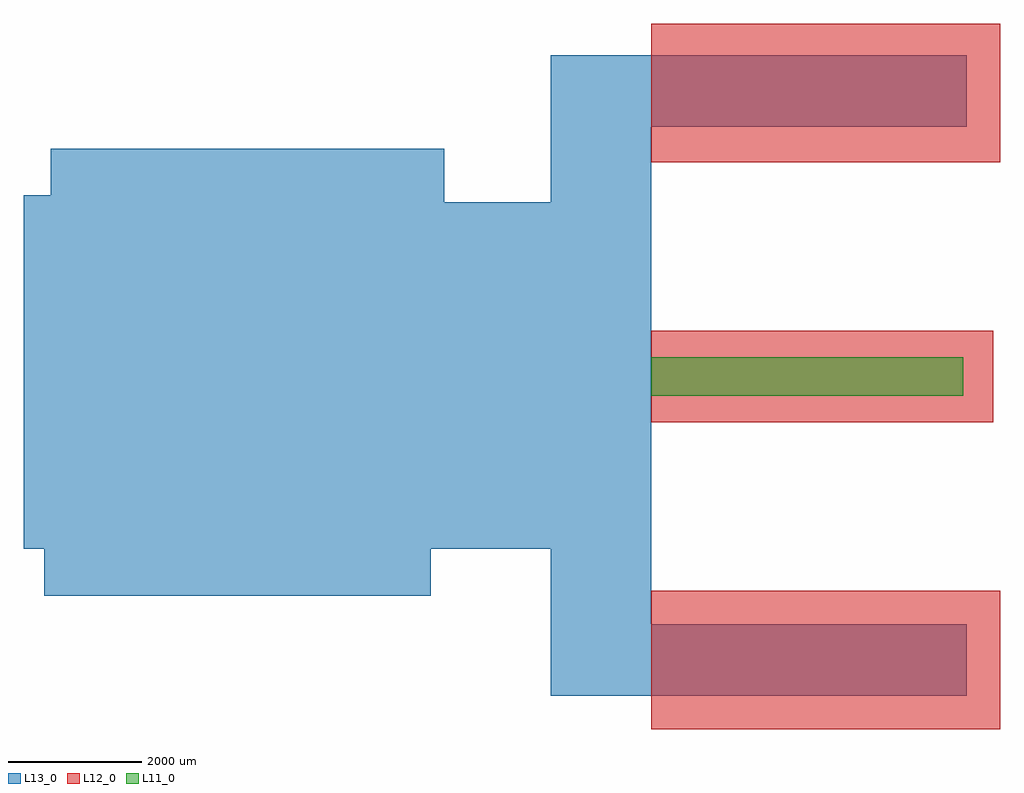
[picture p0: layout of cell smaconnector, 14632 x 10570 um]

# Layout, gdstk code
import gdstk
lib = gdstk.Library(unit=1e-6, precision=1e-09)
def R(c, l, rs):  # rectangles x0, y0, x1, y1
    for r in rs: c.add(gdstk.rectangle(r[:2], r[2:], *l))
def P(c, l, *ps):  # polygons
    for p in ps: c.add(gdstk.Polygon(p, *l))
L11_0 = (11, 0)
L12_0 = (12, 0)
L13_0 = (13, 0)

smaconnector = lib.new_cell('smaconnector')
R(smaconnector, L11_0, [(19600,-300,24281,270)])
R(smaconnector, L12_0, [(19600,-5300,24832,-3230), (19600,-700,24732,670), (19600,3200,24832,5270)])
R(smaconnector, L13_0, [(18100,-4800,19600,4800), (19600,-4800,24332,-3730), (19600,-4800,24332,-3730), (19600,3730,24332,4800), (19600,3730,24332,4800)])
P(smaconnector, L13_0, [(18100,2600),(16500,2600),(16500,3400),(10600,3400),(10600,2700),(10200,2700),(10200,-2600),(10500,-2600),(10500,-3300),(16300,-3300),(16300,-2600),(18100,-2600)])

lib.write_gds('smaconnector.gds')
